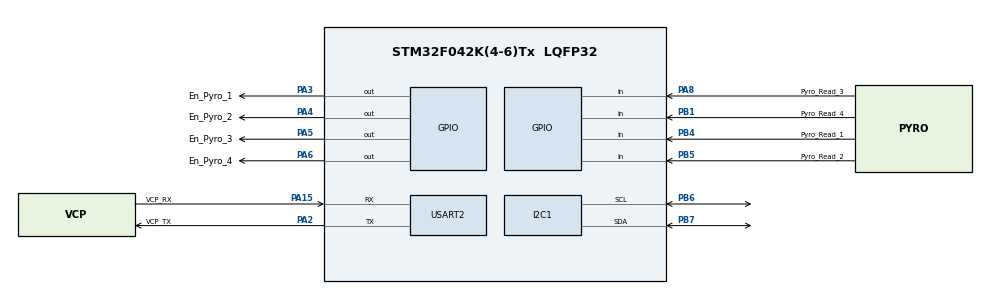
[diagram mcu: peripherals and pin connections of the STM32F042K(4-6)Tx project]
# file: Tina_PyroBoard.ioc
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I2C1.OwnAddress=0x12
I2C1.Timing=0x00201D2B
Mcu.Family=STM32F0
Mcu.Name=STM32F042K(4-6)Tx
Mcu.Package=LQFP32
PA13.GPIO_Label=SWDIO
PA13.Mode=Serial_Wire
PA13.Signal=SYS_SWDIO
PA14.GPIO_Label=SWCLK
PA14.Mode=Serial_Wire
PA14.Signal=SYS_SWCLK
PA15.GPIO_Label=VCP_RX
PA15.Mode=Asynchronous
PA15.Signal=USART2_RX
PA2.GPIO_Label=VCP_TX
PA2.Mode=Asynchronous
PA2.Signal=USART2_TX
PA3.GPIO_Label=En_Pyro_1
PA3.GPIO_PuPd=GPIO_PULLDOWN
PA3.Signal=GPIO_Output
PA4.GPIO_Label=En_Pyro_2
PA4.GPIO_PuPd=GPIO_PULLDOWN
PA4.Signal=GPIO_Output
PA5.GPIO_Label=En_Pyro_3
PA5.GPIO_PuPd=GPIO_PULLDOWN
PA5.Signal=GPIO_Output
PA6.GPIO_Label=En_Pyro_4
PA6.GPIO_PuPd=GPIO_PULLDOWN
PA6.Signal=GPIO_Output
PA8.GPIO_Label=Pyro_Read_3
PA8.GPIO_PuPd=GPIO_PULLDOWN
PA8.Signal=GPIO_Input
PB1.GPIO_Label=Pyro_Read_4
PB1.GPIO_PuPd=GPIO_PULLDOWN
PB1.Signal=GPIO_Input
PB4.GPIO_Label=Pyro_Read_1
PB4.GPIO_PuPd=GPIO_PULLDOWN
PB4.Signal=GPIO_Input
PB5.GPIO_Label=Pyro_Read_2
PB5.GPIO_PuPd=GPIO_PULLDOWN
PB5.Signal=GPIO_Input
PB6.Mode=I2C
PB6.Signal=I2C1_SCL
PB7.Mode=I2C
PB7.Signal=I2C1_SDA
PF0-OSC_IN.GPIO_Label=MCO
PF0-OSC_IN.Mode=HSE-External-Clock-Source
PF0-OSC_IN.Signal=RCC_OSC_IN
ProjectManager.HeapSize=0x200
ProjectManager.StackSize=0x400
ProjectManager.TargetToolchain=STM32CubeIDE
USART2.VirtualMode-Asynchronous=VM_ASYNC
board=NUCLEO-F042K6

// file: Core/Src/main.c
/* USER CODE BEGIN Header */
/**
  ******************************************************************************
  * @file           : main.c
  * @brief          : Main program body
  ******************************************************************************
  * @attention
  *
  * Copyright (c) 2025 STMicroelectronics.
  * All rights reserved.
  *
  * This software is licensed under terms that can be found in the LICENSE file
  * in the root directory of this software component.
  * If no LICENSE file comes with this software, it is provided AS-IS.
  *
  ******************************************************************************
  */
/* USER CODE END Header */
#include "main.h"

/* USER CODE BEGIN Includes */
#include "pyro_fsm.h"
/* USER CODE END Includes */

I2C_HandleTypeDef hi2c1;

UART_HandleTypeDef huart2;

void SystemClock_Config(void);
static void MX_GPIO_Init(void);
static void MX_USART2_UART_Init(void);
static void MX_I2C1_Init(void);

int main(void)
{

  /* MCU Configuration--------------------------------------------------------*/

  /* Reset of all peripherals, Initializes the Flash interface and the Systick. */
  HAL_Init();

  /* Configure the system clock */
  SystemClock_Config();

  /* Initialize all configured peripherals */
  MX_GPIO_Init();
  MX_USART2_UART_Init();
  MX_I2C1_Init();
  /* USER CODE BEGIN 2 */

//  HAL_I2C_Slave_Receive_IT(&hi2c1, rx_buffer, 2);

  uint8_t rx_buffer[2];
  uint8_t tx_buffer[2] = {0xFF, 0xFF};
  /* USER CODE END 0 */

  /* USER CODE END 2 */

  /* Infinite loop */
  /* USER CODE BEGIN WHILE */
  while (1)
  {
	    if (HAL_I2C_Slave_Receive(&hi2c1, rx_buffer, sizeof(rx_buffer), HAL_MAX_DELAY) == HAL_OK)
	    {
	        HAL_GPIO_TogglePin(GPIOB, GPIO_PIN_3);

	        CommandPacket_t packet;
			  packet.cmd = rx_buffer[0];
			  packet.param = rx_buffer[1];

			  pyro_handle_command(&packet, tx_buffer);

	        HAL_I2C_Slave_Transmit(&hi2c1, tx_buffer, sizeof(tx_buffer), HAL_MAX_DELAY);

	        HAL_Delay(1);
	    }
    /* USER CODE END WHILE */

  }
}

void SystemClock_Config(void)
{
  RCC_OscInitTypeDef RCC_OscInitStruct = {0};
  RCC_ClkInitTypeDef RCC_ClkInitStruct = {0};
  RCC_PeriphCLKInitTypeDef PeriphClkInit = {0};

  /** Initializes the RCC Oscillators according to the specified parameters
  * in the RCC_OscInitTypeDef structure.
  */
  RCC_OscInitStruct.OscillatorType = RCC_OSCILLATORTYPE_HSI;
  RCC_OscInitStruct.HSIState = RCC_HSI_ON;
  RCC_OscInitStruct.HSICalibrationValue = RCC_HSICALIBRATION_DEFAULT;
  RCC_OscInitStruct.PLL.PLLState = RCC_PLL_NONE;
  if (HAL_RCC_OscConfig(&RCC_OscInitStruct) != HAL_OK)
  {
    Error_Handler();
  }

  /** Initializes the CPU, AHB and APB buses clocks
  */
  RCC_ClkInitStruct.ClockType = RCC_CLOCKTYPE_HCLK|RCC_CLOCKTYPE_SYSCLK
                              |RCC_CLOCKTYPE_PCLK1;
  RCC_ClkInitStruct.SYSCLKSource = RCC_SYSCLKSOURCE_HSI;
  RCC_ClkInitStruct.AHBCLKDivider = RCC_SYSCLK_DIV1;
  RCC_ClkInitStruct.APB1CLKDivider = RCC_HCLK_DIV1;

  if (HAL_RCC_ClockConfig(&RCC_ClkInitStruct, FLASH_LATENCY_0) != HAL_OK)
  {
    Error_Handler();
  }
  PeriphClkInit.PeriphClockSelection = RCC_PERIPHCLK_I2C1;
  PeriphClkInit.I2c1ClockSelection = RCC_I2C1CLKSOURCE_HSI;
  if (HAL_RCCEx_PeriphCLKConfig(&PeriphClkInit) != HAL_OK)
  {
    Error_Handler();
  }
}

static void MX_I2C1_Init(void)
{

  hi2c1.Instance = I2C1;
  hi2c1.Init.Timing = 0x00201D2B;
  hi2c1.Init.OwnAddress1 = 36;
  hi2c1.Init.AddressingMode = I2C_ADDRESSINGMODE_7BIT;
  hi2c1.Init.DualAddressMode = I2C_DUALADDRESS_DISABLE;
  hi2c1.Init.OwnAddress2 = 0;
  hi2c1.Init.OwnAddress2Masks = I2C_OA2_NOMASK;
  hi2c1.Init.GeneralCallMode = I2C_GENERALCALL_DISABLE;
  hi2c1.Init.NoStretchMode = I2C_NOSTRETCH_DISABLE;
  if (HAL_I2C_Init(&hi2c1) != HAL_OK)
  {
    Error_Handler();
  }

  /** Configure Analogue filter
  */
  if (HAL_I2CEx_ConfigAnalogFilter(&hi2c1, I2C_ANALOGFILTER_ENABLE) != HAL_OK)
  {
    Error_Handler();
  }

  /** Configure Digital filter
  */
  if (HAL_I2CEx_ConfigDigitalFilter(&hi2c1, 0) != HAL_OK)
  {
    Error_Handler();
  }

}

static void MX_USART2_UART_Init(void)
{

  huart2.Instance = USART2;
  huart2.Init.BaudRate = 38400;
  huart2.Init.WordLength = UART_WORDLENGTH_8B;
  huart2.Init.StopBits = UART_STOPBITS_1;
  huart2.Init.Parity = UART_PARITY_NONE;
  huart2.Init.Mode = UART_MODE_TX_RX;
  huart2.Init.HwFlowCtl = UART_HWCONTROL_NONE;
  huart2.Init.OverSampling = UART_OVERSAMPLING_16;
  huart2.Init.OneBitSampling = UART_ONE_BIT_SAMPLE_DISABLE;
  huart2.AdvancedInit.AdvFeatureInit = UART_ADVFEATURE_NO_INIT;
  if (HAL_UART_Init(&huart2) != HAL_OK)
  {
    Error_Handler();
  }

}

static void MX_GPIO_Init(void)
{
  GPIO_InitTypeDef GPIO_InitStruct = {0};

  /* GPIO Ports Clock Enable */
  __HAL_RCC_GPIOF_CLK_ENABLE();
  __HAL_RCC_GPIOA_CLK_ENABLE();
  __HAL_RCC_GPIOB_CLK_ENABLE();

  /*Configure GPIO pin Output Level */
  HAL_GPIO_WritePin(GPIOA, En_Pyro_1_Pin|En_Pyro_2_Pin|En_Pyro_3_Pin|En_Pyro_4_Pin, GPIO_PIN_RESET);

  /*Configure GPIO pins : En_Pyro_1_Pin En_Pyro_2_Pin En_Pyro_3_Pin En_Pyro_4_Pin */
  GPIO_InitStruct.Pin = En_Pyro_1_Pin|En_Pyro_2_Pin|En_Pyro_3_Pin|En_Pyro_4_Pin;
  GPIO_InitStruct.Mode = GPIO_MODE_OUTPUT_PP;
  GPIO_InitStruct.Pull = GPIO_PULLDOWN;
  GPIO_InitStruct.Speed = GPIO_SPEED_FREQ_LOW;
  HAL_GPIO_Init(GPIOA, &GPIO_InitStruct);

  /*Configure GPIO pins : Pyro_Read_4_Pin Pyro_Read_1_Pin Pyro_Read_2_Pin */
  GPIO_InitStruct.Pin = Pyro_Read_4_Pin|Pyro_Read_1_Pin|Pyro_Read_2_Pin;
  GPIO_InitStruct.Mode = GPIO_MODE_INPUT;
  GPIO_InitStruct.Pull = GPIO_PULLDOWN;
  HAL_GPIO_Init(GPIOB, &GPIO_InitStruct);

  /*Configure GPIO pin : Pyro_Read_3_Pin */
  GPIO_InitStruct.Pin = Pyro_Read_3_Pin;
  GPIO_InitStruct.Mode = GPIO_MODE_INPUT;
  GPIO_InitStruct.Pull = GPIO_PULLDOWN;
  HAL_GPIO_Init(Pyro_Read_3_GPIO_Port, &GPIO_InitStruct);

/* USER CODE BEGIN MX_GPIO_Init_2 */
  GPIO_InitStruct.Pin = GPIO_PIN_9 | GPIO_PIN_10;
  GPIO_InitStruct.Mode = GPIO_MODE_AF_OD;
  GPIO_InitStruct.Pull = GPIO_PULLUP;      // SDA/SCL need pull-ups
  GPIO_InitStruct.Speed = GPIO_SPEED_FREQ_HIGH;
  GPIO_InitStruct.Alternate = GPIO_AF5_I2C1; // AF5 for PA9/PA10
  HAL_GPIO_Init(GPIOA, &GPIO_InitStruct);

/* USER CODE END MX_GPIO_Init_2 */
}

/* USER CODE BEGIN 4 */
//void HAL_I2C_SlaveRxCpltCallback(I2C_HandleTypeDef *hi2c)
//{
//    CommandPacket_t packet;
//    packet.cmd = rx_buffer[0];
//    packet.param = rx_buffer[1];
//
//    pyro_handle_command(&packet, tx_buffer);
//
//    HAL_I2C_Slave_Transmit_IT(&hi2c1, tx_buffer, 2);
//
//    HAL_I2C_Slave_Receive_IT(&hi2c1, rx_buffer, 2);
//}
//

/* USER CODE END 4 */

void Error_Handler(void)
{
  __disable_irq();
  while (1)
  {
  }
}
